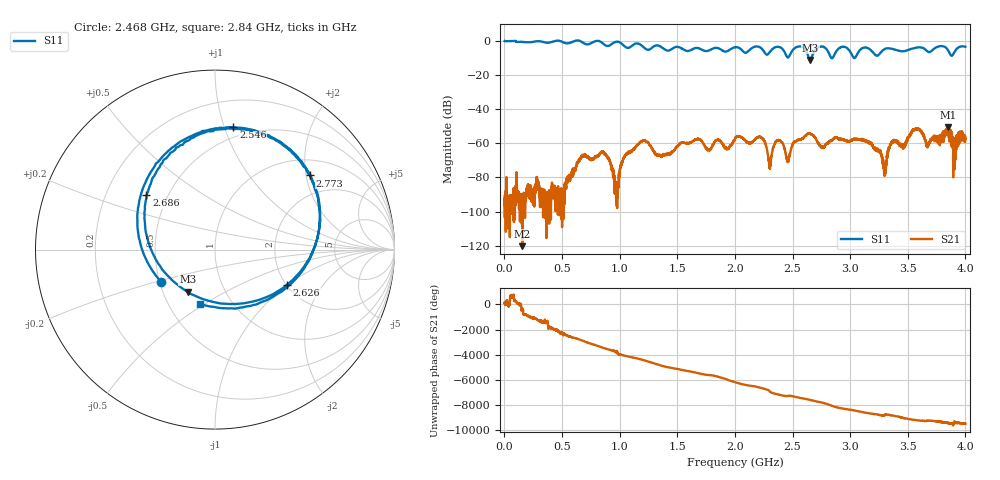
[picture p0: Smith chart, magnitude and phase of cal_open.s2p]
!Created with skrf (http://scikit-rf.org).
# GHz S RI R 50.0
!freq ReS11 ImS11 ReS21 ImS21 ReS12 ImS12 ReS22 ImS22
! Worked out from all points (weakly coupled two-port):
!   4000 points, 1 MHz to 4 GHz, reference 50 ohm
!   highest |S21| = -50.44 dB at 3.848 GHz (marker M1); lowest = -120.3 dB at 156 MHz (marker M2)
!   lowest |S11| = -11.1 dB at 2.653 GHz (marker M3), VSWR 1.78, Z = 33.4 - j17 ohm
!   |S11| at or under -10 dB: 2.641 GHz to 2.662 GHz (20.96 MHz wide, 0.79 % of centre); 2.838202 GHz to 2.845902 GHz (7.7 MHz wide, 0.271 % of centre)
!   S12 and S22 are empty: the file has one direction only
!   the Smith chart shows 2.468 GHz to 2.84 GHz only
!   S11 on the Smith chart (normalised r, x): 2.468 GHz: 0.51, -0.21; 2.546 GHz: 0.41, +1.07; 2.626 GHz: 2.01, -0.99; 2.686 GHz: 0.38, +0.30; 2.773 GHz: 1.40, +2.11; 2.84 GHz: 0.71, -0.48
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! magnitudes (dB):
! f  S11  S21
! 1 MHz  0.1  -91.1
! 156 MHz  -0.4  -120.3
! 552 MHz  -1.3  -80.1
! 668 MHz  -0.3  -68.1
! 862 MHz  -1.8  -65.0
! 971 MHz  -0.4  -86.3
! 1.19 GHz  -2.6  -58.6
! 1.334 GHz  -2.6  -67.1
! 2.001 GHz  -3.6  -56.8
! 2.468 GHz  -9.1  -69.3
! 2.546 GHz  -3.2  -57.9
! 2.626 GHz  -7.0  -54.7
! 2.653 GHz  -11.1  -54.4
! 2.667 GHz  -9.2  -54.9
! 2.686 GHz  -6.2  -55.8
! 2.773 GHz  -3.5  -62.2
! 2.84 GHz  -10.1  -58.4
! 3.147 GHz  -3.9  -59.3
! 3.296 GHz  -4.8  -77.2
! 3.334 GHz  -4.2  -63.7
! 3.848 GHz  -5.2  -50.4
! 4 GHz  -3.3  -56.2
